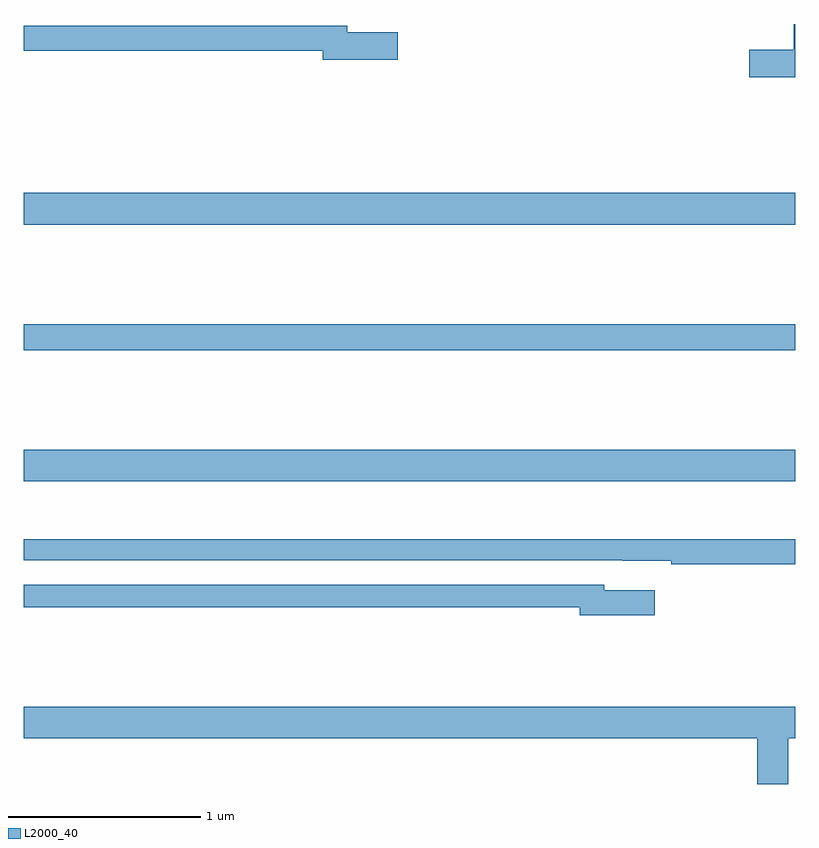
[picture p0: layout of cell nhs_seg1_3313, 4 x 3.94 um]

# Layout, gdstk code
import gdstk
lib = gdstk.Library(unit=1e-6, precision=1e-09)
def R(c, l, rs):  # rectangles x0, y0, x1, y1
    for r in rs: c.add(gdstk.rectangle(r[:2], r[2:], *l))
def P(c, l, *ps):  # polygons
    for p in ps: c.add(gdstk.Polygon(p, *l))
L2000_40 = (2000, 40)

nhs_seg1_3313 = lib.new_cell('nhs_seg1_3313')
R(nhs_seg1_3313, L2000_40, [(291,515.768,295,515.932), (291,516.448,295,516.584), (291,517.1,295,517.264)])
P(nhs_seg1_3313, L2000_40, [(295,518.14),(294.992,518.14),(294.992,518.007),(294.762,518.007),(294.762,517.865),(295,517.865)],
  [(292.939,518.097),(292.678,518.097),(292.678,518.131),(291,518.131),(291,518.002),(292.55,518.002),(292.55,517.955),(292.939,517.955)],
  [(295,515.467),(291,515.467),(291,515.358),(294.106,515.358),(294.106,515.357),(294.358,515.357),(294.358,515.338),(295,515.338)],
  [(294.271,515.203),(294.01,515.203),(294.01,515.232),(291,515.232),(291,515.116),(293.882,515.116),(293.882,515.074),(294.271,515.074)],
  [(294.963,514.436),(295,514.436),(295,514.6),(291,514.6),(291,514.436),(294.803,514.436),(294.803,514.199),(294.963,514.199)])

lib.write_gds('nhs_seg1_3313.gds')
